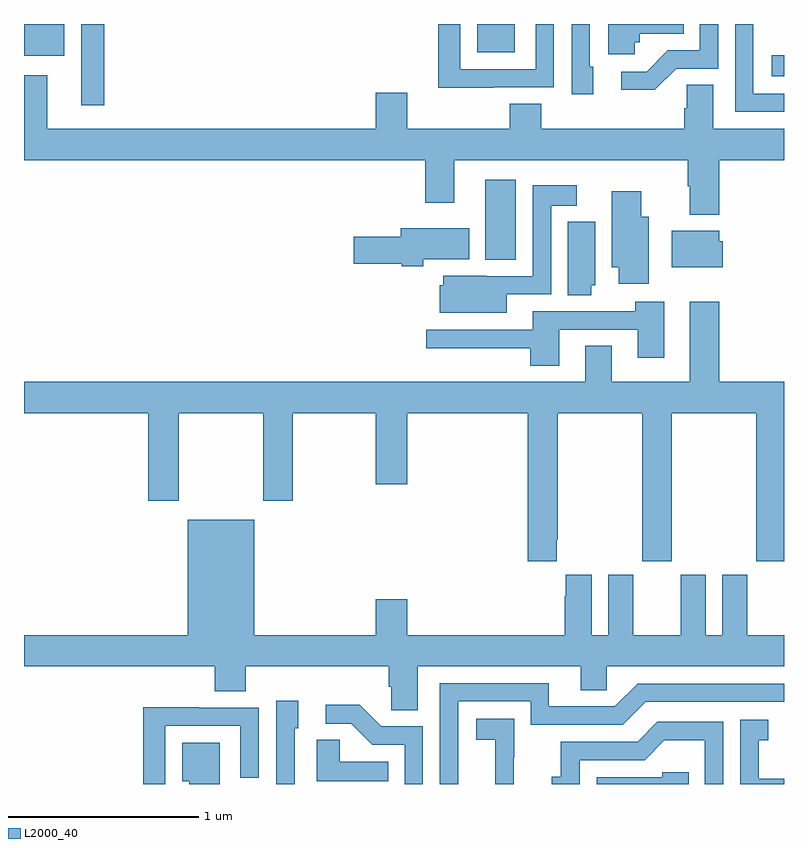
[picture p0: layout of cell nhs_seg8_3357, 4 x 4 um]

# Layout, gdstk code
import gdstk
lib = gdstk.Library(unit=1e-6, precision=1e-09)
def R(c, l, rs):  # rectangles x0, y0, x1, y1
    for r in rs: c.add(gdstk.rectangle(r[:2], r[2:], *l))
def P(c, l, *ps):  # polygons
    for p in ps: c.add(gdstk.Polygon(p, *l))
L2000_40 = (2000, 40)

nhs_seg8_3357 = lib.new_cell('nhs_seg8_3357')
R(nhs_seg8_3357, L2000_40, [(321.428,1098.659,321.589,1099.081), (319.301,1099.473,319.423,1099.9), (322.935,1099.625,323,1099.735), (319,1099.733,319.213,1099.9), (321.386,1099.751,321.583,1099.9)])
P(nhs_seg8_3357, L2000_40, [(322.215,1099.803),(322.242,1099.803),(322.242,1099.85),(322.472,1099.85),(322.472,1099.9),(322.076,1099.9),(322.076,1099.742),(322.215,1099.742)],
  [(322.434,1099.665),(322.653,1099.665),(322.653,1099.9),(322.557,1099.9),(322.557,1099.761),(322.388,1099.761),(322.277,1099.65),(322.143,1099.65),(322.143,1099.553),(322.321,1099.553)],
  [(321.997,1099.674),(321.978,1099.674),(321.978,1099.9),(321.882,1099.9),(321.882,1099.53),(321.997,1099.53)],
  [(323,1099.533),(322.839,1099.533),(322.839,1099.9),(322.743,1099.9),(322.743,1099.437),(323,1099.437)],
  [(321.473,1099.566),(321.789,1099.566),(321.789,1099.9),(321.693,1099.9),(321.693,1099.662),(321.297,1099.662),(321.297,1099.9),(321.181,1099.9),(321.181,1099.565),(321.473,1099.565)],
  [(322.658,1099.184),(323,1099.184),(323,1099.348),(322.627,1099.348),(322.627,1099.58),(322.488,1099.58),(322.488,1099.457),(322.475,1099.457),(322.475,1099.348),(321.722,1099.348),(321.722,1099.481),(321.557,1099.481),(321.557,1099.348),(321.016,1099.348),(321.016,1099.537),(320.852,1099.537),(320.852,1099.348),(319.123,1099.348),(319.123,1099.63),(319.002,1099.63),(319.002,1099.348),(319,1099.348),(319,1099.184),(321.113,1099.184),(321.113,1098.96),(321.265,1098.96),(321.265,1099.184),(322.493,1099.184),(322.493,1099.046),(322.505,1099.046),(322.505,1098.896),(322.658,1098.896)],
  [(321.541,1098.477),(321.774,1098.477),(321.774,1098.944),(321.91,1098.944),(321.91,1099.051),(321.678,1099.051),(321.678,1098.573),(321.432,1098.573),(321.432,1098.574),(321.206,1098.574),(321.206,1098.525),(321.188,1098.525),(321.188,1098.38),(321.541,1098.38)],
  [(322.288,1098.886),(322.249,1098.886),(322.249,1099.021),(322.094,1099.021),(322.094,1098.62),(322.13,1098.62),(322.13,1098.534),(322.288,1098.534)],
  [(321.985,1098.525),(322.006,1098.525),(322.006,1098.859),(321.863,1098.859),(321.863,1098.472),(321.985,1098.472)],
  [(321.102,1098.662),(321.343,1098.662),(321.343,1098.826),(320.984,1098.826),(320.984,1098.78),(320.736,1098.78),(320.736,1098.638),(320.988,1098.638),(320.988,1098.625),(321.102,1098.625)],
  [(322.678,1098.756),(322.66,1098.756),(322.66,1098.811),(322.409,1098.811),(322.409,1098.62),(322.678,1098.62)],
  [(321.817,1098.291),(322.229,1098.291),(322.229,1098.144),(322.369,1098.144),(322.369,1098.439),(322.217,1098.439),(322.217,1098.387),(321.677,1098.387),(321.677,1098.291),(321.117,1098.291),(321.117,1098.194),(321.665,1098.194),(321.665,1098.102),(321.817,1098.102)],
  [(319,1097.852),(319.655,1097.852),(319.655,1097.391),(319.815,1097.391),(319.815,1097.852),(320.26,1097.852),(320.26,1097.391),(320.415,1097.391),(320.415,1097.852),(320.852,1097.852),(320.852,1097.478),(321.016,1097.478),(321.016,1097.852),(321.65,1097.852),(321.65,1097.073),(321.805,1097.073),(321.805,1097.185),(321.81,1097.185),(321.81,1097.852),(322.255,1097.852),(322.255,1097.073),(322.41,1097.073),(322.41,1097.852),(322.855,1097.852),(322.855,1097.073),(323,1097.073),(323,1098.016),(322.658,1098.016),(322.658,1098.439),(322.505,1098.439),(322.505,1098.016),(322.093,1098.016),(322.093,1098.206),(321.953,1098.206),(321.953,1098.016),(319,1098.016)],
  [(320.921,1096.411),(320.934,1096.411),(320.934,1096.288),(321.073,1096.288),(321.073,1096.52),(321.929,1096.52),(321.929,1096.393),(322.068,1096.393),(322.068,1096.52),(323,1096.52),(323,1096.684),(322.807,1096.684),(322.807,1097.002),(322.676,1097.002),(322.676,1096.684),(322.588,1096.684),(322.588,1097.002),(322.457,1097.002),(322.457,1096.684),(322.207,1096.684),(322.207,1097.002),(322.076,1097.002),(322.076,1096.684),(321.988,1096.684),(321.988,1097.002),(321.851,1097.002),(321.851,1096.889),(321.845,1096.889),(321.845,1096.684),(321.016,1096.684),(321.016,1096.873),(320.852,1096.873),(320.852,1096.684),(320.212,1096.684),(320.212,1097.29),(319.862,1097.29),(319.862,1096.684),(319,1096.684),(319,1096.52),(320.003,1096.52),(320.003,1096.387),(320.168,1096.387),(320.168,1096.52),(320.921,1096.52)],
  [(321.285,1096.335),(321.666,1096.335),(321.666,1096.212),(322.152,1096.212),(322.272,1096.332),(323,1096.332),(323,1096.428),(322.23,1096.428),(322.11,1096.308),(321.763,1096.308),(321.763,1096.431),(321.189,1096.431),(321.189,1095.9),(321.285,1095.9)],
  [(320.424,1096.194),(320.443,1096.194),(320.443,1096.339),(320.328,1096.339),(320.328,1095.9),(320.424,1095.9)],
  [(321.099,1096.203),(320.88,1096.203),(320.767,1096.316),(320.589,1096.316),(320.589,1096.218),(320.723,1096.218),(320.834,1096.107),(321.003,1096.107),(321.003,1095.9),(321.099,1095.9)],
  [(319.743,1096.206),(320.139,1096.206),(320.139,1095.933),(320.235,1095.933),(320.235,1096.302),(319.919,1096.302),(319.919,1096.304),(319.627,1096.304),(319.627,1095.9),(319.743,1095.9)],
  [(321.578,1096.037),(321.579,1096.037),(321.579,1096.243),(321.381,1096.243),(321.381,1096.133),(321.479,1096.133),(321.479,1095.905),(321.48,1095.905),(321.48,1095.9),(321.578,1095.9)],
  [(323,1095.927),(322.867,1095.927),(322.867,1096.131),(322.916,1096.131),(322.916,1096.237),(322.77,1096.237),(322.77,1095.9),(323,1095.9)],
  [(321.924,1096.026),(322.266,1096.026),(322.37,1096.13),(322.584,1096.13),(322.584,1095.9),(322.68,1095.9),(322.68,1096.227),(322.334,1096.227),(322.229,1096.122),(321.826,1096.122),(321.826,1095.937),(321.777,1095.937),(321.777,1095.9),(321.924,1095.9)],
  [(320.918,1096.018),(320.661,1096.018),(320.661,1096.133),(320.54,1096.133),(320.54,1095.914),(320.918,1095.914)],
  [(320.029,1096.117),(319.832,1096.117),(319.832,1095.914),(319.871,1095.914),(319.871,1095.9),(320.029,1095.9)],
  [(322.499,1095.963),(322.359,1095.963),(322.359,1095.936),(322.014,1095.936),(322.014,1095.9),(322.499,1095.9)])

lib.write_gds('nhs_seg8_3357.gds')
